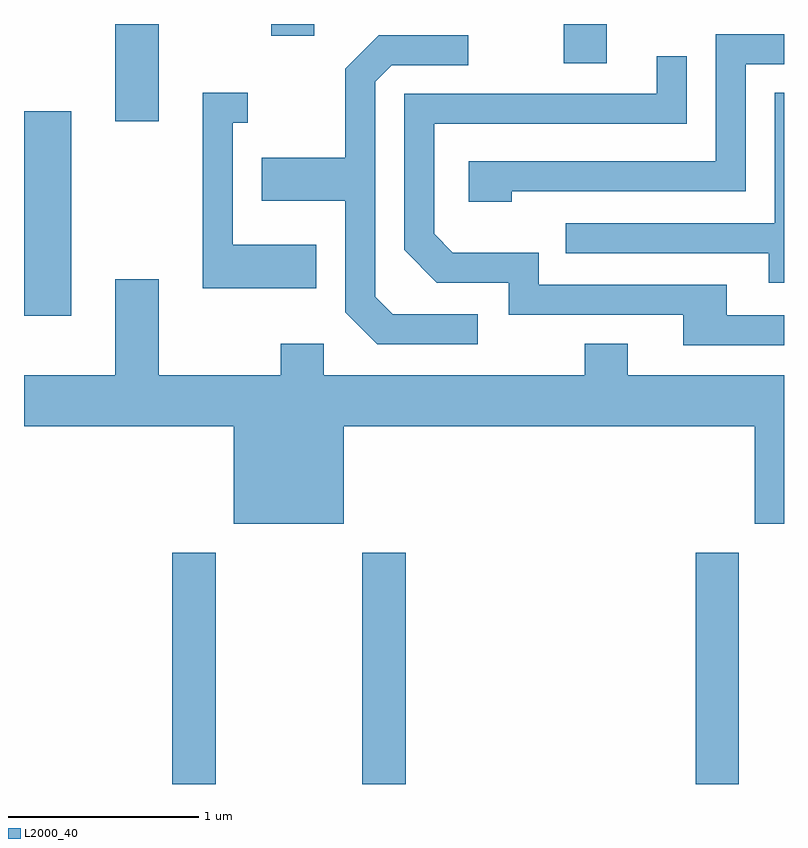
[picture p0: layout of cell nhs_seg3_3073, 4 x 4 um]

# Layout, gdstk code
import gdstk
lib = gdstk.Library(unit=1e-6, precision=1e-09)
def R(c, l, rs):  # rectangles x0, y0, x1, y1
    for r in rs: c.add(gdstk.rectangle(r[:2], r[2:], *l))
def P(c, l, *ps):  # polygons
    for p in ps: c.add(gdstk.Polygon(p, *l))
L2000_40 = (2000, 40)

nhs_seg3_3073 = lib.new_cell('nhs_seg3_3073')
R(nhs_seg3_3073, L2000_40, [(276.391,1141.892,276.619,1143.109), (277.391,1141.892,277.619,1143.109), (279.146,1141.892,279.374,1143.109), (275.611,1144.356,275.859,1145.434), (276.091,1145.381,276.319,1145.892), (278.451,1145.686,278.679,1145.892), (276.911,1145.831,277.139,1145.892)])
P(nhs_seg3_3073, L2000_40, [(278.179,1145.011),(279.409,1145.011),(279.409,1145.681),(279.611,1145.681),(279.611,1145.839),(279.251,1145.839),(279.251,1145.169),(277.951,1145.169),(277.951,1144.956),(278.179,1144.956)],
  [(277.998,1144.364),(277.552,1144.364),(277.459,1144.457),(277.459,1145.589),(277.547,1145.676),(277.948,1145.676),(277.948,1145.834),(277.479,1145.834),(277.301,1145.657),(277.301,1145.189),(276.861,1145.189),(276.861,1144.961),(277.301,1144.961),(277.301,1144.374),(277.469,1144.206),(277.998,1144.206)],
  [(279.611,1144.359),(279.309,1144.359),(279.309,1144.519),(278.319,1144.519),(278.319,1144.689),(277.867,1144.689),(277.769,1144.787),(277.769,1145.366),(279.099,1145.366),(279.099,1145.723),(278.941,1145.723),(278.941,1145.524),(277.611,1145.524),(277.611,1144.704),(277.784,1144.531),(278.161,1144.531),(278.161,1144.361),(279.081,1144.361),(279.081,1144.201),(279.611,1144.201)],
  [(279.611,1145.529),(279.561,1145.529),(279.561,1144.844),(278.463,1144.844),(278.463,1144.686),(279.531,1144.686),(279.531,1144.531),(279.611,1144.531)],
  [(277.149,1144.729),(276.709,1144.729),(276.709,1145.371),(276.788,1145.371),(276.788,1145.529),(276.551,1145.529),(276.551,1144.501),(277.149,1144.501)],
  [(278.561,1144.209),(278.561,1144.044),(277.189,1144.044),(277.189,1144.209),(276.961,1144.209),(276.961,1144.044),(276.319,1144.044),(276.319,1144.549),(276.091,1144.549),(276.091,1144.044),(275.611,1144.044),(275.611,1143.776),(276.716,1143.776),(276.716,1143.261),(277.294,1143.261),(277.294,1143.776),(279.456,1143.776),(279.456,1143.261),(279.611,1143.261),(279.611,1144.044),(278.789,1144.044),(278.789,1144.209)])

lib.write_gds('nhs_seg3_3073.gds')
